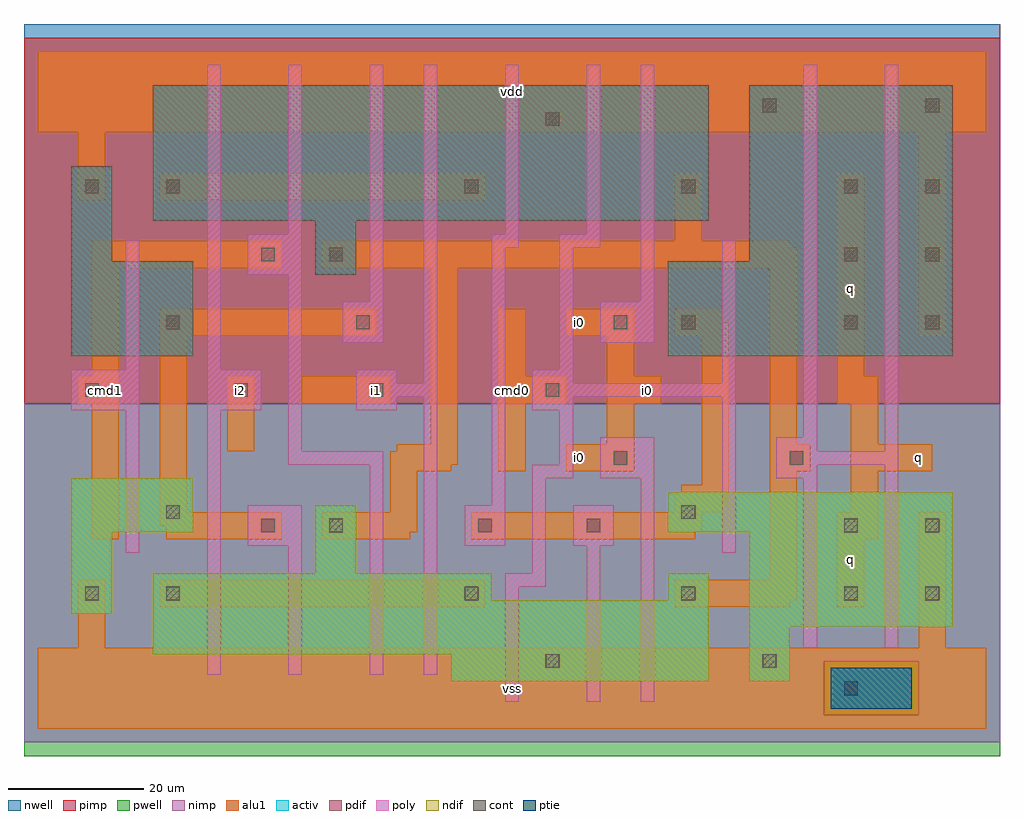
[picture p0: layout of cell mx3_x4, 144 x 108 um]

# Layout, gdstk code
import gdstk
lib = gdstk.Library(unit=1e-6, precision=1e-09)
def R(c, l, rs):  # rectangles x0, y0, x1, y1
    for r in rs: c.add(gdstk.rectangle(r[:2], r[2:], *l))
def A(c, l, x, y, w, h, nx, ny, dx, dy):  # array of equal rectangles
    R(c, l, [(x+i*dx, y+j*dy, x+i*dx+w, y+j*dy+h) for i in range(nx) for j in range(ny)])
ndif = (3, 0)
pdif = (4, 0)
ptie = (6, 0)
cont = (25, 0)
pwell = (41, 0)
nwell = (42, 0)
activ = (43, 0)
pimp = (44, 0)
nimp = (45, 0)
poly = (46, 0)
alu1 = (49, 0)

mx3_x4 = lib.new_cell('mx3_x4')
R(mx3_x4, ndif, [(61,7,99,11), (105,7,111,15), (17,11,99,19), (105,15,135,29), (5,17,11,29), (17,19,67,23), (93,19,99,23), (41,23,47,33), (5,29,23,37), (93,29,135,35)])
R(mx3_x4, pdif, [(5,55,23,69), (93,55,135,69), (41,67,47,75), (5,69,11,83), (105,69,135,95), (17,75,99,95)])
R(mx3_x4, ptie, [(117,3,129,9)])
A(mx3_x4, cont, 75, 9, 2, 2, 1, 3, 0, 40)
A(mx3_x4, cont, 7, 19, 2, 2, 1, 3, 0, 30)
A(mx3_x4, cont, 119, 59, 2, 2, 1, 3, 0, 10)
A(mx3_x4, cont, 131, 59, 2, 2, 1, 3, 0, 10)
R(mx3_x4, cont, [(119,5,121,7), (107,9,109,11), (19,19,21,21), (63,19,65,21), (95,19,97,21), (119,19,121,21), (131,19,133,21), (33,29,35,31), (43,29,45,31), (65,29,67,31), (81,29,83,31), (119,29,121,31), (131,29,133,31), (19,31,21,33), (95,31,97,33), (85,39,87,41), (111,39,113,41), (29,49,31,51), (49,49,51,51), (19,59,21,61), (47,59,49,61), (85,59,87,61), (95,59,97,61), (33,69,35,71), (43,69,45,71), (19,79,21,81), (63,79,65,81), (95,79,97,81), (107,91,109,93), (131,91,133,93)])
R(mx3_x4, pwell, [(-2,-4,142,48)])
R(mx3_x4, nwell, [(-2,48,142,104)])
R(mx3_x4, activ, [(117,3,129,9), (61,7,99,11), (105,7,111,15), (17,11,99,19), (105,15,135,29), (5,17,11,29), (17,19,67,23), (93,19,99,23), (41,23,47,33), (5,29,23,37), (93,29,135,35), (5,55,23,69), (93,55,135,69), (41,67,47,75), (5,69,11,83), (105,69,135,95), (17,75,99,95)])
R(mx3_x4, pimp, [(116,2,130,10), (-2,48,142,102)])
R(mx3_x4, nimp, [(-2,-2,142,2), (-2,2,116,10), (130,2,142,10), (-2,10,142,48)])
R(mx3_x4, poly, [(69,4,71,21), (81,4,83,27), (89,4,91,37), (25,8,27,47), (37,8,39,27), (49,8,51,39), (57,8,59,49), (113,12,115,37), (125,12,127,39), (69,21,75,23), (73,23,75,37), (13,26,15,47), (101,26,103,49), (31,27,39,33), (63,27,69,33), (79,27,85,33), (67,33,69,71), (73,37,79,39), (83,37,91,43), (109,37,115,39), (37,39,51,41), (77,39,79,47), (109,39,127,41), (37,41,39,67), (109,41,115,43), (125,41,127,98), (113,43,115,98), (5,47,15,53), (25,47,33,53), (47,47,53,49), (73,47,79,49), (47,49,59,51), (73,49,103,51), (47,51,53,53), (57,51,59,98), (73,51,79,53), (101,51,103,72), (13,53,15,72), (25,53,27,98), (77,53,79,71), (45,57,51,63), (83,57,91,63), (49,63,51,98), (89,63,91,98), (31,67,39,73), (67,71,71,73), (77,71,83,73), (37,73,39,98), (69,73,71,98), (81,73,83,98)])
R(mx3_x4, alu1, [(0,0,140,12), (6,12,10,22), (130,12,134,32), (18,18,66,22), (94,18,111,19), (118,18,122,28), (94,19,112,22), (108,22,112,38), (8,28,12,48), (19,28,36,30), (42,28,55,29), (64,28,97,29), (118,28,124,32), (42,29,56,32), (64,29,98,32), (18,30,36,32), (18,32,22,58), (52,32,56,38), (94,32,101,33), (120,32,124,38), (94,33,102,35), (95,35,102,36), (98,36,102,58), (52,38,61,39), (68,38,72,48), (78,38,88,42), (108,38,114,42), (120,38,132,42), (52,39,62,41), (28,41,32,52), (53,41,62,42), (58,42,62,68), (84,42,88,48), (108,42,112,68), (120,42,124,48), (6,48,12,52), (39,48,52,52), (68,48,78,52), (84,48,92,52), (118,48,124,52), (8,52,12,68), (68,52,72,62), (84,52,88,58), (118,52,122,82), (18,58,50,62), (78,58,88,62), (94,58,102,60), (130,58,134,88), (94,60,101,62), (8,68,36,72), (42,68,112,71), (42,71,111,72), (94,72,98,82), (6,78,10,88), (18,78,66,82), (0,88,140,100)])
mx3_x4.add(gdstk.Label('cmd1', (10,50), layer=49, texttype=0))
mx3_x4.add(gdstk.Label('i2', (30,50), layer=49, texttype=0))
mx3_x4.add(gdstk.Label('i1', (50,50), layer=49, texttype=0))
mx3_x4.add(gdstk.Label('vss', (70,6), layer=49, texttype=0))
mx3_x4.add(gdstk.Label('i0', (80,40), layer=49, texttype=0))
mx3_x4.add(gdstk.Label('cmd0', (70,50), layer=49, texttype=0))
mx3_x4.add(gdstk.Label('i0', (80,60), layer=49, texttype=0))
mx3_x4.add(gdstk.Label('vdd', (70,94), layer=49, texttype=0))
mx3_x4.add(gdstk.Label('i0', (90,50), layer=49, texttype=0))
mx3_x4.add(gdstk.Label('q', (120,25), layer=49, texttype=0))
mx3_x4.add(gdstk.Label('q', (130,40), layer=49, texttype=0))
mx3_x4.add(gdstk.Label('q', (120,65), layer=49, texttype=0))

lib.write_gds('mx3_x4.gds')
